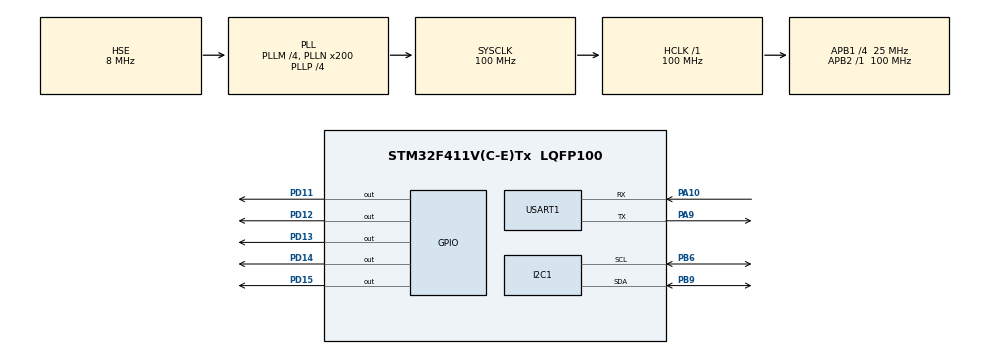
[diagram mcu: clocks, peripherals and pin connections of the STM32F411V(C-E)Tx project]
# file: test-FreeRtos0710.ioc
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FREERTOS.Tasks01=defaultTask,2,128,StartDefaultTask,Default,NULL,Dynamic,NULL,NULL;myTask02,0,128,StartTask02,Default,NULL,Dynamic,NULL,NULL;myTask03,0,128,StartTask03,Default,NULL,Dynamic,NULL,NULL
Mcu.Family=STM32F4
Mcu.Name=STM32F411V(C-E)Tx
Mcu.Package=LQFP100
NVIC.PriorityGroup=NVIC_PRIORITYGROUP_4
NVIC.TIM1_BRK_TIM9_IRQn=true\:0\:0\:false\:false\:true\:false\:false\:true
NVIC.TimeBase=TIM1_BRK_TIM9_IRQn
NVIC.TimeBaseIP=TIM9
PA10.Mode=Asynchronous
PA10.Signal=USART1_RX
PA9.Mode=Asynchronous
PA9.Signal=USART1_TX
PB6.Mode=I2C
PB6.Signal=I2C1_SCL
PB9.Mode=I2C
PB9.Signal=I2C1_SDA
PC14-OSC32_IN.Mode=LSE-External-Oscillator
PC14-OSC32_IN.Signal=RCC_OSC32_IN
PC15-OSC32_OUT.Mode=LSE-External-Oscillator
PC15-OSC32_OUT.Signal=RCC_OSC32_OUT
PD11.Signal=GPIO_Output
PD12.Signal=GPIO_Output
PD13.Signal=GPIO_Output
PD14.Signal=GPIO_Output
PD15.Signal=GPIO_Output
PH0\ -\ OSC_IN.Mode=HSE-External-Oscillator
PH0\ -\ OSC_IN.Signal=RCC_OSC_IN
PH1\ -\ OSC_OUT.Mode=HSE-External-Oscillator
PH1\ -\ OSC_OUT.Signal=RCC_OSC_OUT
ProjectManager.HeapSize=0x200
ProjectManager.StackSize=0x400
ProjectManager.TargetToolchain=MDK-ARM V5
RCC.48MHZClocksFreq_Value=100000000
RCC.AHBFreq_Value=100000000
RCC.APB1CLKDivider=RCC_HCLK_DIV4
RCC.APB1Freq_Value=25000000
RCC.APB1TimFreq_Value=50000000
RCC.APB2Freq_Value=100000000
RCC.APB2TimFreq_Value=100000000
RCC.CortexFreq_Value=100000000
RCC.HCLKFreq_Value=100000000
RCC.HSE_VALUE=8000000
RCC.HSI_VALUE=16000000
RCC.PLLM=4
RCC.PLLN=200
RCC.PLLP=RCC_PLLP_DIV4
RCC.PLLSourceVirtual=RCC_PLLSOURCE_HSE
RCC.SYSCLKFreq_VALUE=100000000
RCC.SYSCLKSource=RCC_SYSCLKSOURCE_PLLCLK
RCC.VCOOutputFreq_Value=400000000
USART1.VirtualMode=VM_ASYNC
VP_FREERTOS_VS_CMSIS_V1.Mode=CMSIS_V1
VP_SYS_VS_tim9.Mode=TIM9
board=custom

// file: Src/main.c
/* USER CODE BEGIN Header */
/**
  ******************************************************************************
  * @file           : main.c
  * @brief          : Main program body
  ******************************************************************************
  * @attention
  *
  * <h2><center>&copy; Copyright (c) 2019 STMicroelectronics.
  * All rights reserved.</center></h2>
  *
  * This software component is licensed by ST under Ultimate Liberty license
  * SLA0044, the "License"; You may not use this file except in compliance with
  * the License. You may obtain a copy of the License at:
  *                             www.st.com/SLA0044
  *
  ******************************************************************************
  */
/* USER CODE END Header */

#include "main.h"
#include "cmsis_os.h"

#include "math.h"
#include "limits.h"
#include <string.h>

/* USER CODE BEGIN Includes */
//Register
#define LSM303_ACC_ADDRESS (0x19 << 1) // address of accelerometer: 0011 001x
#define LSM303_ACC_CTRL_REG1_A 0x20 // settings register 1
#define LSM303_ACC_CTRL_REG3_A 0x22 // setting register 3
#define LSM303_ACC_Z_H_A 0x2D // higher byte of Z axis data
#define LSM303_ACC_Z_L_A 0x2C // lower byte of Z axis data
#define LSM303_ACC_X_L_A 0x28 // lower byte of X axis data

// to read more data at once
#define LSM303_ACC_Z_L_A_MULTI_READ (LSM303_ACC_Z_L_A | 0x80)

// to read more data at once
#define LSM303_ACC_X_L_A_MULTI_READ (LSM303_ACC_X_L_A | 0x80)

// Bit masks
// CTRL_REG1_A = [ODR3][ODR2][ODR1][ODR0][LPEN][ZEN][YEN][XEN]
#define LSM303_ACC_Z_ENABLE 0x04 // 0000 0100
#define LSM303_ACC_XYZ_ENABLE 0x07 // 0000 0111
#define LSM303_ACC_100HZ 0x50 //0101 0000
#define LSM303_ACC_1HZ 0x10 //0001 0000

// CTRL_REG3_A = [CLICK][AOI1][AOI2][DRDY_1][DRDY_2][WTM][OVERRUN][---]
#define LSM303_ACC_I1_DRDY1 0x10 //0001 0000
#define LSM303_ACC_I1_DRDY2 0x08 //0000 1000

#define LSM303_ACC_RESOLUTION 2.0 // Maximum value of measurable acceleration [g]

// Variables
uint8_t Data[6]; // Variable for direct data reading from the accelerometer
int16_t Xaxis = 0; // Contains a transformed form of data read from the X axis
int16_t Yaxis = 0; // Contains a transformed form of data read from the Y axis
int16_t Zaxis = 0; // Contains a transformed form of data read from the Z axis

float Xaxis_g = 0 ; // Contains the acceleration in the X axis, expanded to physical unit [g]
float Yaxis_g = 0; // Contains the acceleration in the Y axis, expanded to physical unit [g]
float Zaxis_g = 0; // Contains the acceleration in the Z axis, expanded to physical unit [g]
/* USER CODE END Includes */

I2C_HandleTypeDef hi2c1;

UART_HandleTypeDef huart1;

osThreadId defaultTaskHandle;
osThreadId myTask02Handle;
osThreadId myTask03Handle;

void SystemClock_Config(void);
static void MX_GPIO_Init(void);
static void MX_I2C1_Init(void);
static void MX_USART1_UART_Init(void);
void StartDefaultTask(void const * argument);
void StartTask02(void const * argument);
void StartTask03(void const * argument);

int main(void)
{

  /* MCU Configuration--------------------------------------------------------*/

  /* Reset of all peripherals, Initializes the Flash interface and the Systick. */
  HAL_Init();

  /* Configure the system clock */
  SystemClock_Config();

  /* Initialize all configured peripherals */
  MX_GPIO_Init();
  MX_I2C1_Init();
  MX_USART1_UART_Init();

  /* Create the thread(s) */
  /* definition and creation of defaultTask */
  osThreadDef(defaultTask, StartDefaultTask, osPriorityHigh, 0, 128);
  defaultTaskHandle = osThreadCreate(osThread(defaultTask), NULL);

  /* definition and creation of myTask02 */
  osThreadDef(myTask02, StartTask02, osPriorityNormal, 0, 128);
  myTask02Handle = osThreadCreate(osThread(myTask02), NULL);

  /* definition and creation of myTask03 */
  osThreadDef(myTask03, StartTask03, osPriorityNormal, 0, 128);
  myTask03Handle = osThreadCreate(osThread(myTask03), NULL);

  /* Start scheduler */
  osKernelStart();

  /* We should never get here as control is now taken by the scheduler */

  /* Infinite loop */
  while (1)
  {

  }
}

void SystemClock_Config(void)
{
  RCC_OscInitTypeDef RCC_OscInitStruct = {0};
  RCC_ClkInitTypeDef RCC_ClkInitStruct = {0};

  /** Configure the main internal regulator output voltage
  */
  __HAL_RCC_PWR_CLK_ENABLE();
  __HAL_PWR_VOLTAGESCALING_CONFIG(PWR_REGULATOR_VOLTAGE_SCALE1);
  /** Initializes the CPU, AHB and APB busses clocks
  */
  RCC_OscInitStruct.OscillatorType = RCC_OSCILLATORTYPE_HSE;
  RCC_OscInitStruct.HSEState = RCC_HSE_ON;
  RCC_OscInitStruct.PLL.PLLState = RCC_PLL_ON;
  RCC_OscInitStruct.PLL.PLLSource = RCC_PLLSOURCE_HSE;
  RCC_OscInitStruct.PLL.PLLM = 4;
  RCC_OscInitStruct.PLL.PLLN = 200;
  RCC_OscInitStruct.PLL.PLLP = RCC_PLLP_DIV4;
  RCC_OscInitStruct.PLL.PLLQ = 4;
  if (HAL_RCC_OscConfig(&RCC_OscInitStruct) != HAL_OK)
  {
    Error_Handler();
  }
  /** Initializes the CPU, AHB and APB busses clocks
  */
  RCC_ClkInitStruct.ClockType = RCC_CLOCKTYPE_HCLK|RCC_CLOCKTYPE_SYSCLK
                              |RCC_CLOCKTYPE_PCLK1|RCC_CLOCKTYPE_PCLK2;
  RCC_ClkInitStruct.SYSCLKSource = RCC_SYSCLKSOURCE_PLLCLK;
  RCC_ClkInitStruct.AHBCLKDivider = RCC_SYSCLK_DIV1;
  RCC_ClkInitStruct.APB1CLKDivider = RCC_HCLK_DIV4;
  RCC_ClkInitStruct.APB2CLKDivider = RCC_HCLK_DIV1;

  if (HAL_RCC_ClockConfig(&RCC_ClkInitStruct, FLASH_LATENCY_3) != HAL_OK)
  {
    Error_Handler();
  }
}

static void MX_I2C1_Init(void)
{

  hi2c1.Instance = I2C1;
  hi2c1.Init.ClockSpeed = 100000;
  hi2c1.Init.DutyCycle = I2C_DUTYCYCLE_2;
  hi2c1.Init.OwnAddress1 = 0;
  hi2c1.Init.AddressingMode = I2C_ADDRESSINGMODE_7BIT;
  hi2c1.Init.DualAddressMode = I2C_DUALADDRESS_DISABLE;
  hi2c1.Init.OwnAddress2 = 0;
  hi2c1.Init.GeneralCallMode = I2C_GENERALCALL_DISABLE;
  hi2c1.Init.NoStretchMode = I2C_NOSTRETCH_DISABLE;
  if (HAL_I2C_Init(&hi2c1) != HAL_OK)
  {
    Error_Handler();
  }

}

static void MX_USART1_UART_Init(void)
{

  huart1.Instance = USART1;
  huart1.Init.BaudRate = 115200;
  huart1.Init.WordLength = UART_WORDLENGTH_8B;
  huart1.Init.StopBits = UART_STOPBITS_1;
  huart1.Init.Parity = UART_PARITY_NONE;
  huart1.Init.Mode = UART_MODE_TX_RX;
  huart1.Init.HwFlowCtl = UART_HWCONTROL_NONE;
  huart1.Init.OverSampling = UART_OVERSAMPLING_16;
  if (HAL_UART_Init(&huart1) != HAL_OK)
  {
    Error_Handler();
  }

}

static void MX_GPIO_Init(void)
{
  GPIO_InitTypeDef GPIO_InitStruct = {0};

  /* GPIO Ports Clock Enable */
  __HAL_RCC_GPIOC_CLK_ENABLE();
  __HAL_RCC_GPIOH_CLK_ENABLE();
  __HAL_RCC_GPIOD_CLK_ENABLE();
  __HAL_RCC_GPIOA_CLK_ENABLE();
  __HAL_RCC_GPIOB_CLK_ENABLE();

  /*Configure GPIO pin Output Level */
  HAL_GPIO_WritePin(GPIOD, GPIO_PIN_11|GPIO_PIN_12|GPIO_PIN_13|GPIO_PIN_14
                          |GPIO_PIN_15, GPIO_PIN_RESET);

  /*Configure GPIO pins : PD11 PD12 PD13 PD14
                           PD15 */
  GPIO_InitStruct.Pin = GPIO_PIN_11|GPIO_PIN_12|GPIO_PIN_13|GPIO_PIN_14
                          |GPIO_PIN_15;
  GPIO_InitStruct.Mode = GPIO_MODE_OUTPUT_PP;
  GPIO_InitStruct.Pull = GPIO_NOPULL;
  GPIO_InitStruct.Speed = GPIO_SPEED_FREQ_LOW;
  HAL_GPIO_Init(GPIOD, &GPIO_InitStruct);

}

int falldetect(void)
{
	float at = 0;
	HAL_I2C_Mem_Read(&hi2c1, LSM303_ACC_ADDRESS, LSM303_ACC_X_L_A_MULTI_READ, 1, Data, 6, 100);

	// Convert received data bytes to int16_t type
	Xaxis = ((Data[1] << 8) | Data[0]);
	Yaxis = ((Data[3] << 8) | Data[2]);
	Zaxis = ((Data[5] << 8) | Data[4]);

	// calculation of acceleration in each axis in the SI unit [g]
	Xaxis_g = ((float) Xaxis * LSM303_ACC_RESOLUTION) / (float) INT16_MAX;
	Yaxis_g = ((float) Yaxis * LSM303_ACC_RESOLUTION) / (float) INT16_MAX;
	Zaxis_g = ((float) Zaxis * LSM303_ACC_RESOLUTION) / (float) INT16_MAX;
  at = sqrt(Xaxis_g*Xaxis_g + Yaxis_g*Yaxis_g + Zaxis_g*Zaxis_g);
	if (at < 0.7)
		return 1;
	else
		return 0;
}

void StartDefaultTask(void const * argument)
{
    uint8_t datau[]={1,3,5};

      // Fill the configuration variable with the appropriate options
	uint8_t Settings = LSM303_ACC_XYZ_ENABLE | LSM303_ACC_100HZ;

  // Enter the configuration in the accelerometer register
	HAL_I2C_Mem_Write(&hi2c1, LSM303_ACC_ADDRESS, LSM303_ACC_CTRL_REG1_A, 1, &Settings, 1, 100);

	Settings = LSM303_ACC_I1_DRDY2;
	HAL_I2C_Mem_Write(&hi2c1, LSM303_ACC_ADDRESS, LSM303_ACC_CTRL_REG3_A, 1, &Settings, 1, 100);

  /* USER CODE BEGIN 5 */
  /* Infinite loop */
  for(;;)
  {
		HAL_UART_Transmit(&huart1,datau,10,1000);
		falldetect();
    osDelay(1000);
  }
  /* USER CODE END 5 */
}

void StartTask02(void const * argument)
{
  /* USER CODE BEGIN StartTask02 */
 int i = 0;
  /* Infinite loop */
  for(;;)
  {
		while(falldetect() == 1) {
		for	(i = 0;i < 150;i++) {
		HAL_GPIO_TogglePin(GPIOD,GPIO_PIN_11);
    osDelay(50);
		}
		}
		while(falldetect() == 0) {
			HAL_GPIO_TogglePin(GPIOD,GPIO_PIN_11);
      osDelay(250);
			if (falldetect() == 1)
				break;

			osDelay(250);
			if (falldetect() == 1)
				break;
			HAL_GPIO_TogglePin(GPIOD,GPIO_PIN_11);
			osDelay(250);
			if (falldetect() == 1)
			break;
			osDelay(250);
			if (falldetect() == 1)
				break;
		}
  }
  /* USER CODE END StartTask02 */
}

void StartTask03(void const * argument)
{
  /* USER CODE BEGIN StartTask03 */
  /* Infinite loop */
  for(;;)
  {
		const float Threshold = 0.5;

		// Control the diodes based on the acceleration in the X axis
		if (Xaxis_g > Threshold) { // if the acceleration in the X axis is greater than the set threshold
			HAL_GPIO_WritePin(GPIOD,GPIO_PIN_13, GPIO_PIN_SET); // light a diode
		} else if (Xaxis_g < -Threshold) { // if the acceleration in the X axis is smaller than the set threshold
			HAL_GPIO_WritePin(GPIOD, GPIO_PIN_15, GPIO_PIN_SET); // light a diode
		} else { // otherwise turn off all the LEDs
			HAL_GPIO_WritePin(GPIOD, GPIO_PIN_13, GPIO_PIN_RESET);
			HAL_GPIO_WritePin(GPIOD, GPIO_PIN_15, GPIO_PIN_RESET);
		}

		// Control the diodes based on the acceleration in the Y axis
		if (Yaxis_g > Threshold) { // if the acceleration in the Y axis is greater than the set threshold
			HAL_GPIO_WritePin(GPIOD, GPIO_PIN_12, GPIO_PIN_SET);
		} else if (Yaxis_g < -Threshold) { // if the acceleration in the Y axis is smaller than the set threshold
			HAL_GPIO_WritePin(GPIOD, GPIO_PIN_14, GPIO_PIN_SET);
		} else { // otherwise turn off all the LEDs
			HAL_GPIO_WritePin(GPIOD, GPIO_PIN_12, GPIO_PIN_RESET);
			HAL_GPIO_WritePin(GPIOD, GPIO_PIN_14, GPIO_PIN_RESET);
		}
  }
  /* USER CODE END StartTask03 */
}

void HAL_TIM_PeriodElapsedCallback(TIM_HandleTypeDef *htim)
{
  if (htim->Instance == TIM9) {
    HAL_IncTick();
  }
}

void Error_Handler(void)
{
}

/************************ (C) COPYRIGHT STMicroelectronics *****END OF FILE****/
